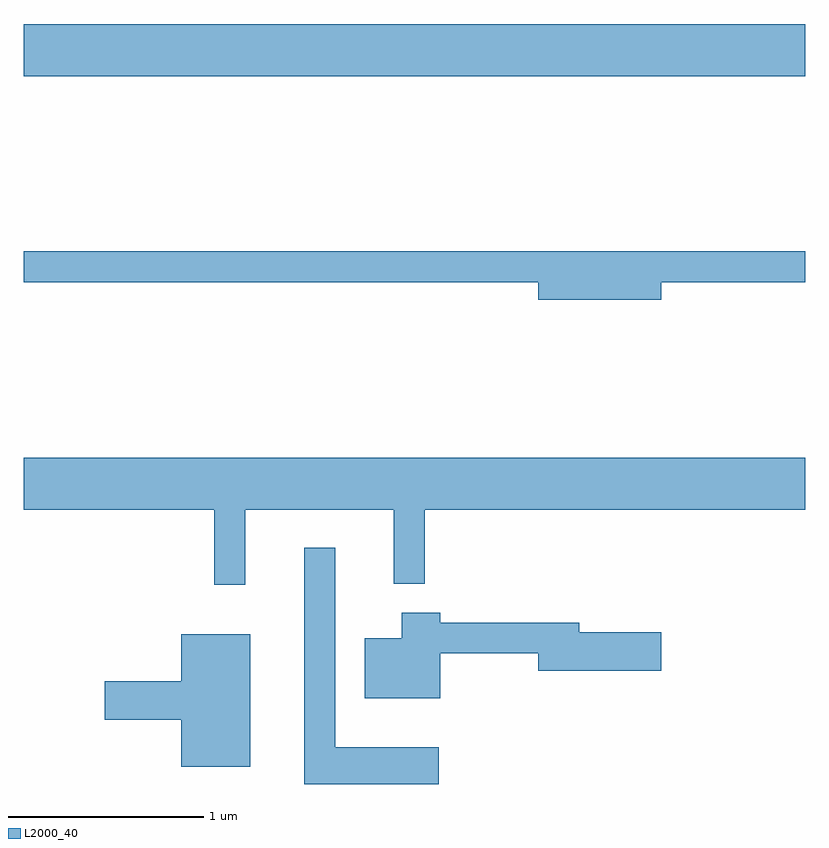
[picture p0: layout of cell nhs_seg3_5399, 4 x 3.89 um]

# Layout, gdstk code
import gdstk
lib = gdstk.Library(unit=1e-6, precision=1e-09)
def R(c, l, rs):  # rectangles x0, y0, x1, y1
    for r in rs: c.add(gdstk.rectangle(r[:2], r[2:], *l))
def P(c, l, *ps):  # polygons
    for p in ps: c.add(gdstk.Polygon(p, *l))
L2000_40 = (2000, 40)

nhs_seg3_5399 = lib.new_cell('nhs_seg3_5399')
R(nhs_seg3_5399, L2000_40, [(343.611,1181.516,347.611,1181.784)])
P(nhs_seg3_5399, L2000_40, [(346.874,1180.461),(347.611,1180.461),(347.611,1180.619),(343.611,1180.619),(343.611,1180.461),(346.246,1180.461),(346.246,1180.371),(346.874,1180.371)],
  [(344.744,1179.296),(345.506,1179.296),(345.506,1178.918),(345.664,1178.918),(345.664,1179.296),(347.611,1179.296),(347.611,1179.564),(343.611,1179.564),(343.611,1179.296),(344.586,1179.296),(344.586,1178.913),(344.744,1178.913)],
  [(345.734,1178.079),(345.204,1178.079),(345.204,1179.103),(345.046,1179.103),(345.046,1177.892),(345.734,1177.892)],
  [(345.744,1178.561),(346.246,1178.561),(346.246,1178.471),(346.874,1178.471),(346.874,1178.669),(346.454,1178.669),(346.454,1178.719),(345.744,1178.719),(345.744,1178.769),(345.546,1178.769),(345.546,1178.639),(345.356,1178.639),(345.356,1178.331),(345.744,1178.331)],
  [(344.769,1178.659),(344.416,1178.659),(344.416,1178.419),(344.026,1178.419),(344.026,1178.221),(344.416,1178.221),(344.416,1177.981),(344.769,1177.981)])

lib.write_gds('nhs_seg3_5399.gds')
